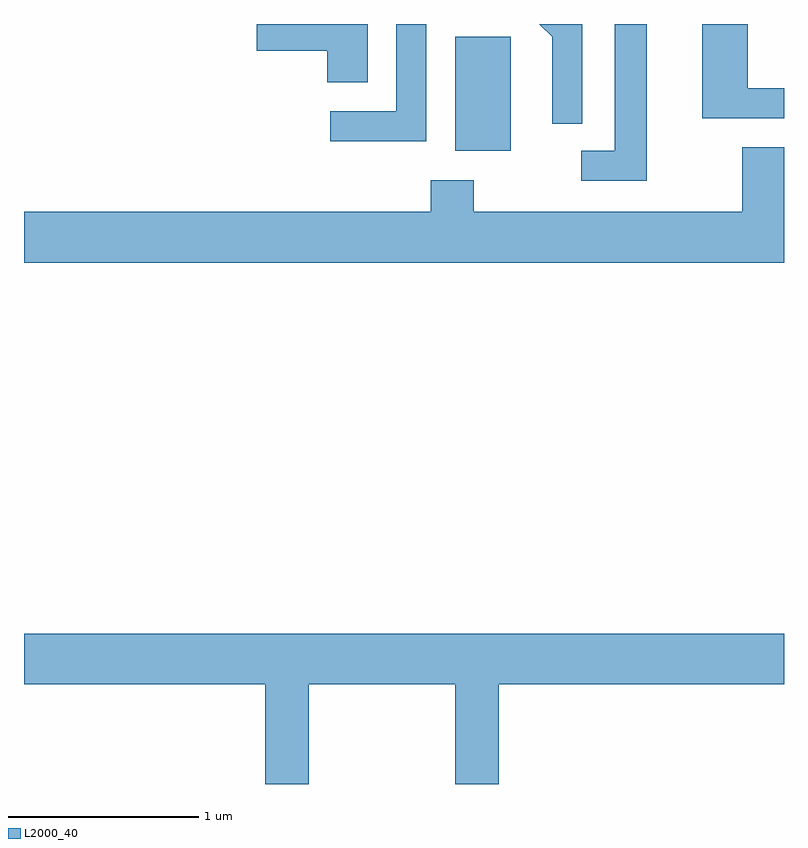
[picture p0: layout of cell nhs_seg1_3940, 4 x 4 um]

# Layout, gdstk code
import gdstk
lib = gdstk.Library(unit=1e-6, precision=1e-09)
def R(c, l, rs):  # rectangles x0, y0, x1, y1
    for r in rs: c.add(gdstk.rectangle(r[:2], r[2:], *l))
def P(c, l, *ps):  # polygons
    for p in ps: c.add(gdstk.Polygon(p, *l))
L2000_40 = (2000, 40)

nhs_seg1_3940 = lib.new_cell('nhs_seg1_3940')
R(nhs_seg1_3940, L2000_40, [(305.881,909.046,306.174,909.644)])
P(nhs_seg1_3940, L2000_40, [(305.419,909.712),(304.836,909.712),(304.836,909.571),(305.206,909.571),(305.206,909.406),(305.419,909.406)],
  [(306.889,909.712),(306.721,909.712),(306.721,909.044),(306.543,909.044),(306.543,908.886),(306.889,908.886)],
  [(307.611,909.374),(307.419,909.374),(307.419,909.712),(307.181,909.712),(307.181,909.216),(307.611,909.216)],
  [(305.729,909.712),(305.571,909.712),(305.571,909.254),(305.223,909.254),(305.223,909.096),(305.729,909.096)],
  [(306.549,909.712),(306.323,909.712),(306.391,909.644),(306.391,909.188),(306.549,909.188)],
  [(307.611,909.064),(307.391,909.064),(307.391,908.724),(305.979,908.724),(305.979,908.889),(305.751,908.889),(305.751,908.724),(303.611,908.724),(303.611,908.456),(307.611,908.456)],
  [(305.109,906.236),(305.881,906.236),(305.881,905.712),(306.109,905.712),(306.109,906.236),(307.611,906.236),(307.611,906.504),(303.611,906.504),(303.611,906.236),(304.881,906.236),(304.881,905.712),(305.109,905.712)])

lib.write_gds('nhs_seg1_3940.gds')
